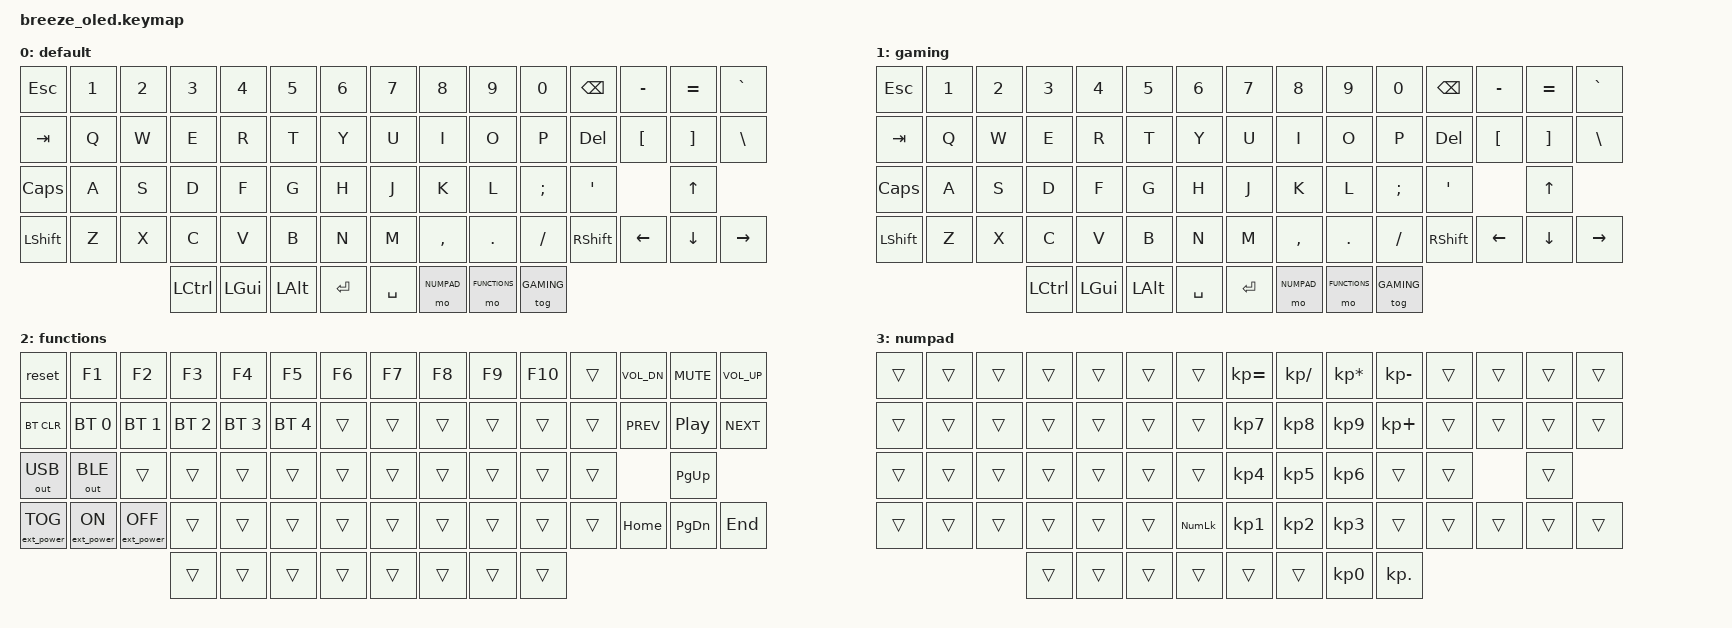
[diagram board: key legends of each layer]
/*
 * Copyright (c) 2020 The ZMK Contributors
 *
 * SPDX-License-Identifier: MIT
 */

#include <behaviors.dtsi>
#include <dt-bindings/zmk/keys.h>
#include <dt-bindings/zmk/bt.h>
#include <dt-bindings/zmk/ext_power.h>
#include <dt-bindings/zmk/outputs.h>

#define DEFAULT 0
#define GAMING 1
#define FUNCTIONS 2
#define NUMPAD 3

/ {
	keymap {
		compatible = "zmk,keymap";

		default {

// Ref: https://zmkfirmware.dev/docs/codes/

// ----------------------------------------------------------------------------------------------------------------------------------
// |  ESC  |  1  |  2  |  3   |  4   |  5   |                   |  6   |  7    |  8    |  9   |   0   | BSPC  | |  -  |  =   |  `   |
// |  TAB  |  Q  |  W  |  E   |  R   |  T   |                   |  Y   |  U    |  I    |  O   |   P   |  DEL  | |  [  |  ]   |  \   |
// |  CAPS |  A  |  S  |  D   |  F   |  G   |                   |  H   |  J    |  K    |  L   |   ;   |  '    | |     |  UP  |      |
// | SHIFT |  Z  |  X  |  C   |  V   |  B   |                   |  N   |  M    |  ,    |  .   |   /   | SHIFT | |  L  |  DN  |  R   |
//                     | CTRL | ALT  | GUI  |  ENTER |  | SPACE | mo(NUMPAD) | mo(FUNCTIONS) | tog(GAMING) |
			label = "default";
			bindings = <
&kp ESC   &kp N1 &kp N2 &kp N3    &kp N4   &kp N5                     &kp N6   &kp N7   &kp N8    &kp N9  &kp N0   &kp BSPC   &kp MINUS &kp EQUAL  &kp GRAVE
&kp TAB   &kp Q  &kp W  &kp E     &kp R    &kp T                      &kp Y    &kp U    &kp I     &kp O   &kp P    &kp DEL    &kp LBKT  &kp RBKT   &kp BSLH
&kp CAPS  &kp A  &kp S  &kp D     &kp F    &kp G                      &kp H    &kp J    &kp K     &kp L   &kp SEMI &kp APOS             &kp UP 
&kp LSHFT &kp Z  &kp X  &kp C     &kp V    &kp B                      &kp N    &kp M    &kp COMMA &kp DOT &kp FSLH &kp RSHFT  &kp LEFT  &kp DOWN  &kp RIGHT
                        &kp LCTRL &kp LGUI &kp LALT &kp ENTER &kp SPACE &mo NUMPAD &mo FUNCTIONS &tog GAMING
			>;
		};

		gaming {
// ----------------------------------------------------------------------------------------------------------------------------------
// |  ESC  |  1  |  2  |  3   |  4   |  5   |                   |  6   |  7    |  8    |  9   |   0   | BSPC  | |  -  |  =   |  `   |
// |  TAB  |  Q  |  W  |  E   |  R   |  T   |                   |  Y   |  U    |  I    |  O   |   P   |  DEL  | |  [  |  ]   |  \   |
// |  CAPS |  A  |  S  |  D   |  F   |  G   |                   |  H   |  J    |  K    |  L   |   ;   |  '    | |     |  UP  |      |
// | SHIFT |  Z  |  X  |  C   |  V   |  B   |                   |  N   |  M    |  ,    |  .   |   /   | SHIFT | |  L  |  DN  |  R   |
//                     | CTRL | ALT  | GUI  |  SPACE |  | ENTER | mo(NUMPAD) | mo(FUNCTIONS) | tog(GAMING) |
			label = "gaming";
			bindings = <
&kp ESC   &kp N1 &kp N2 &kp N3    &kp N4   &kp N5                     &kp N6   &kp N7   &kp N8    &kp N9  &kp N0   &kp BSPC   &kp MINUS &kp EQUAL  &kp GRAVE
&kp TAB   &kp Q  &kp W  &kp E     &kp R    &kp T                      &kp Y    &kp U    &kp I     &kp O   &kp P    &kp DEL    &kp LBKT  &kp RBKT   &kp BSLH
&kp CAPS  &kp A  &kp S  &kp D     &kp F    &kp G                      &kp H    &kp J    &kp K     &kp L   &kp SEMI &kp APOS             &kp UP 
&kp LSHFT &kp Z  &kp X  &kp C     &kp V    &kp B                      &kp N    &kp M    &kp COMMA &kp DOT &kp FSLH &kp RSHFT  &kp LEFT  &kp DOWN  &kp RIGHT
                        &kp LCTRL &kp LGUI &kp LALT &kp SPACE &kp ENTER &mo NUMPAD  &mo FUNCTIONS &tog GAMING
			>;
		};

		functions {
// ---------------------------------------------------------------------------------------------------------------------------------- 
// | RESET |  F1 |  F2 |  F3  |  F4  |  F5  |                   |  F6  |  F7   |  F8   |  F9  |  F10  |       | | Vol- | Mute | Vol+ | 
// | BTCLR | BT1 | BT2 |  BT3 |  BT4 |  BT5 |                   |      |       |       |      |       |       | | Prev | Play | Next | 
// |OUTUSB |OUTBL|     |      |      |      |                   |      |       |       |      |       |       | |      | PgUp |      | 
// |PWR TOG|PWRON|PWROFF|      |      |      |                   |      |       |       |      |       |       | | Home | PgDn | End  | 
//                     |      |      |      |        |  |       |      |       |       |
			label = "functions";
			bindings = <
&reset     &kp F1       &kp F2       &kp F3       &kp F4       &kp F5                       &kp F6 &kp F7 &kp F8 &kp F9 &kp F10 &trans &kp C_VOL_DN &kp C_MUTE       &kp C_VOL_UP 
&bt BT_CLR &bt BT_SEL 0 &bt BT_SEL 1 &bt BT_SEL 2 &bt BT_SEL 3 &bt BT_SEL 4                 &trans &trans &trans &trans &trans  &trans &kp C_PREV   &kp C_PLAY_PAUSE &kp C_NEXT    
&out OUT_USB &out OUT_BLE &trans     &trans       &trans       &trans                       &trans &trans &trans &trans &trans  &trans              &kp PG_UP 
&ext_power EP_TOG     &ext_power EP_ON       &ext_power EP_OFF       &trans       &trans       &trans                       &trans &trans &trans &trans &trans  &trans &kp HOME     &kp PG_DN        &kp END
                                     &trans       &trans       &trans    &trans   &trans    &trans    &trans    &trans
			>;
		};

		numpad {
// ---------------------------------------------------------------------------------------------------------------------------------- 
// |       |     |     |      |      |      |                   |      |   =   |   /   |  *   |   -   |       | |     |      |      | 
// |       |     |     |      |      |      |                   |      |   7   |   8   |  9   |   +   |       | |     |      |      | 
// |       |     |     |      |      |      |                   |      |   4   |   5   |  6   |       |       | |     |      |      | 
// |       |     |     |      |      |      |                   | NUM  |   1   |   2   |  3   |       |       | |     |      |      | 
//                     |      |      |      |        |  |       |      |   0   |   .   |
			label = "numpad";
			bindings = <
&trans    &trans &trans &trans  &trans  &trans                       &trans      &kp KP_EQUAL &kp KP_SLASH &kp KP_MULTIPLY &kp KP_MINUS &trans    &trans    &trans    &trans 
&trans    &trans &trans &trans  &trans  &trans                       &trans      &kp KP_N7    &kp KP_N8    &kp KP_N9       &kp KP_PLUS  &trans    &trans    &trans    &trans 
&trans    &trans &trans &trans  &trans  &trans                       &trans      &kp KP_N4    &kp KP_N5    &kp KP_N6       &trans       &trans              &trans 
&trans    &trans &trans &trans  &trans  &trans                       &kp KP_NUM  &kp KP_N1    &kp KP_N2    &kp KP_N3       &trans       &trans    &trans    &trans    &trans 
                        &trans  &trans  &trans    &trans   &trans    &trans      &kp KP_N0    &kp KP_DOT
			>;
		};

	};
};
